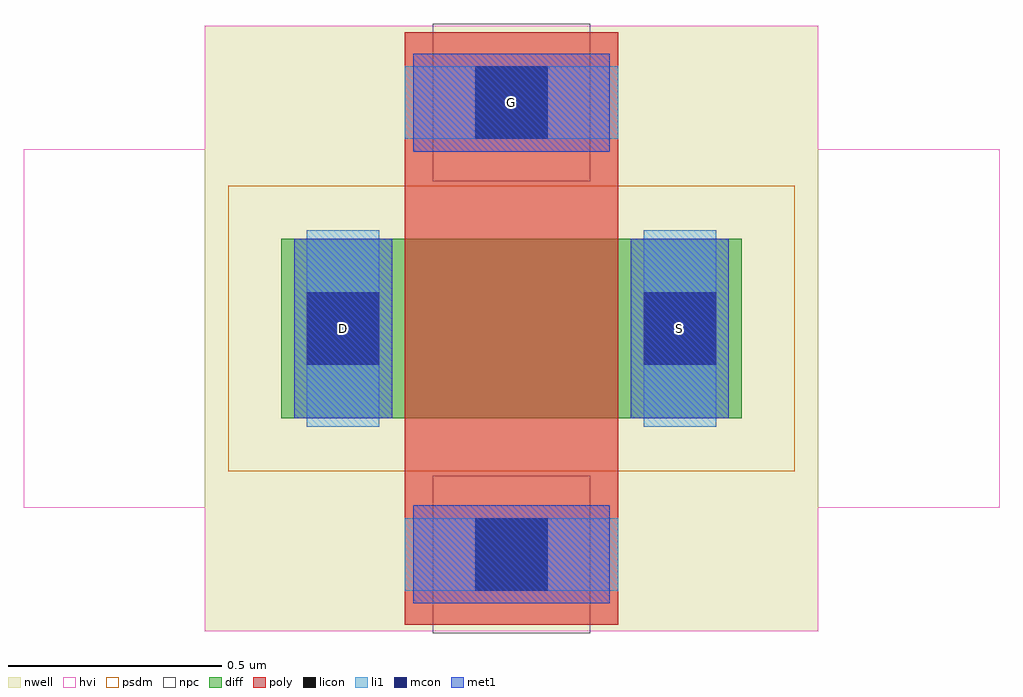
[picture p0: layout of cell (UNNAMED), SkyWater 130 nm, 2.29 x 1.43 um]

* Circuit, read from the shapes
.subckt (UNNAMED) D G S
XM1 S G D n1 sky130_fd_pr__pfet_g5v0d10v5 w=0.42 l=0.5
.ends

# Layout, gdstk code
import gdstk
lib = gdstk.Library(unit=1e-6, precision=1e-09)
def R(c, l, rs):  # rectangles x0, y0, x1, y1
    for r in rs: c.add(gdstk.rectangle(r[:2], r[2:], *l))
nwell = (64, 20)
diff = (65, 20)
poly = (66, 20)
licon = (66, 44)
li1 = (67, 20)
mcon = (67, 44)
met1 = (68, 20)
hvi = (75, 20)
psdm = (94, 20)
npc = (95, 20)

c__unnamed_ = lib.new_cell('(UNNAMED)')
R(c__unnamed_, nwell, [(-0.72,-0.71,0.72,0.71)])
R(c__unnamed_, diff, [(-0.54,-0.21,0.54,0.21)])
R(c__unnamed_, poly, [(-0.25,-0.695,0.25,0.695)])
R(c__unnamed_, licon, [(-0.085,-0.615,0.085,-0.445), (-0.48,-0.085,-0.31,0.085), (0.31,-0.085,0.48,0.085), (-0.085,0.445,0.085,0.615)])
R(c__unnamed_, li1, [(-0.25,-0.615,0.25,-0.445), (-0.48,-0.23,-0.31,0.23), (0.31,-0.23,0.48,0.23), (-0.25,0.445,0.25,0.615)])
R(c__unnamed_, mcon, [(-0.085,-0.615,0.085,-0.445), (-0.48,-0.085,-0.31,0.085), (0.31,-0.085,0.48,0.085), (-0.085,0.445,0.085,0.615)])
R(c__unnamed_, met1, [(-0.23,-0.645,0.23,-0.415), (-0.51,-0.21,-0.28,0.21), (0.28,-0.21,0.51,0.21), (-0.23,0.415,0.23,0.645)])
R(c__unnamed_, hvi, [(-0.72,-0.71,0.72,-0.42), (-1.145,-0.42,1.145,0.42), (-0.72,0.42,0.72,0.71)])
R(c__unnamed_, psdm, [(-0.665,-0.335,0.665,0.335)])
R(c__unnamed_, npc, [(-0.185,-0.715,0.185,-0.345), (-0.185,0.345,0.185,0.715)])
c__unnamed_.add(gdstk.Label('D', (-0.395,0), layer=67, texttype=5))
c__unnamed_.add(gdstk.Label('S', (0.395,0), layer=67, texttype=5))
c__unnamed_.add(gdstk.Label('G', (0,0.53), layer=67, texttype=5))

lib.write_gds('_UNNAMED_.gds')
